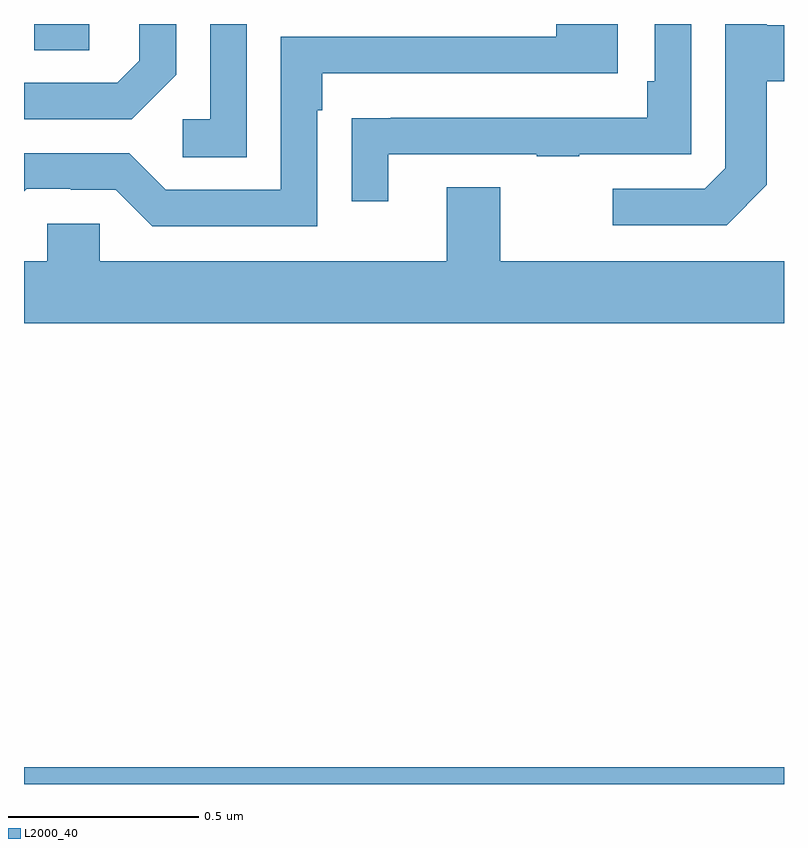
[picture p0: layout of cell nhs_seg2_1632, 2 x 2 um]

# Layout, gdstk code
import gdstk
lib = gdstk.Library(unit=1e-6, precision=1e-09)
def R(c, l, rs):  # rectangles x0, y0, x1, y1
    for r in rs: c.add(gdstk.rectangle(r[:2], r[2:], *l))
def P(c, l, *ps):  # polygons
    for p in ps: c.add(gdstk.Polygon(p, *l))
L2000_40 = (2000, 40)

nhs_seg2_1632 = lib.new_cell('nhs_seg2_1632')
R(nhs_seg2_1632, L2000_40, [(131,603.8,133,603.844), (131.027,605.731,131.172,605.8)])
P(nhs_seg2_1632, L2000_40, [(132.955,605.377),(132.955,605.65),(133,605.65),(133,605.797),(132.955,605.797),(132.955,605.8),(132.846,605.8),(132.846,605.421),(132.792,605.367),(132.549,605.367),(132.549,605.271),(132.849,605.271)],
  [(131.772,605.573),(131.785,605.573),(131.785,605.67),(132.562,605.67),(132.562,605.8),(132.401,605.8),(132.401,605.766),(131.676,605.766),(131.676,605.364),(131.373,605.364),(131.277,605.46),(131,605.46),(131,605.36),(131.007,605.367),(131.123,605.367),(131.123,605.364),(131.241,605.364),(131.337,605.268),(131.772,605.268)],
  [(131.586,605.8),(131.49,605.8),(131.49,605.55),(131.418,605.55),(131.418,605.449),(131.586,605.449)],
  [(131.4,605.666),(131.4,605.8),(131.303,605.8),(131.303,605.703),(131.246,605.646),(131,605.646),(131,605.55),(131.284,605.55)],
  [(131.959,605.457),(132.349,605.457),(132.349,605.452),(132.461,605.452),(132.461,605.457),(132.756,605.457),(132.756,605.8),(132.66,605.8),(132.66,605.65),(132.64,605.65),(132.64,605.553),(131.965,605.553),(131.965,605.552),(131.863,605.552),(131.863,605.334),(131.959,605.334)],
  [(133,605.176),(132.253,605.176),(132.253,605.371),(132.113,605.371),(132.113,605.176),(131.199,605.176),(131.199,605.274),(131.061,605.274),(131.061,605.176),(131,605.176),(131,605.012),(133,605.012)])

lib.write_gds('nhs_seg2_1632.gds')
